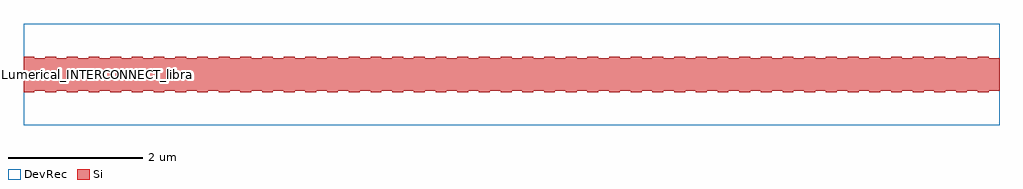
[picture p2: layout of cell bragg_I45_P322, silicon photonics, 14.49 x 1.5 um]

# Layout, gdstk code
import gdstk
lib = gdstk.Library(unit=1e-6, precision=1e-09)
def R(c, l, rs):  # rectangles x0, y0, x1, y1
    for r in rs: c.add(gdstk.rectangle(r[:2], r[2:], *l))
def A(c, l, x, y, w, h, nx, ny, dx, dy):  # array of equal rectangles
    R(c, l, [(x+i*dx, y+j*dy, x+i*dx+w, y+j*dy+h) for i in range(nx) for j in range(ny)])
Si = (1, 0)
DevRec = (68, 0)

bragg_i45_p322 = lib.new_cell('bragg_I45_P322')
A(bragg_i45_p322, Si, 0, -0.26, 0.161, 0.26, 45, 2, 0.322, 0.26)
A(bragg_i45_p322, Si, 0.161, -0.24, 0.161, 0.24, 45, 2, 0.322, 0.24)
R(bragg_i45_p322, DevRec, [(0,-0.75,14.49,0.75)])
bragg_i45_p322.add(gdstk.Label('Lumerical_INTERCONNECT_library=Design kits/ebeam', (0,0), layer=68, texttype=0))
bragg_i45_p322.add(gdstk.Label('Component=ebeam_bragg_te1550', (1.449,0), layer=68, texttype=0))
bragg_i45_p322.add(gdstk.Label('Spice_param:number_of_periods=45 grating_period=3.22e-07 corrugation_width=2e-08 misalignment=0 sinusoidal=0', (1.61,0), layer=68, texttype=0))

lib.write_gds('bragg_I45_P322.gds')
